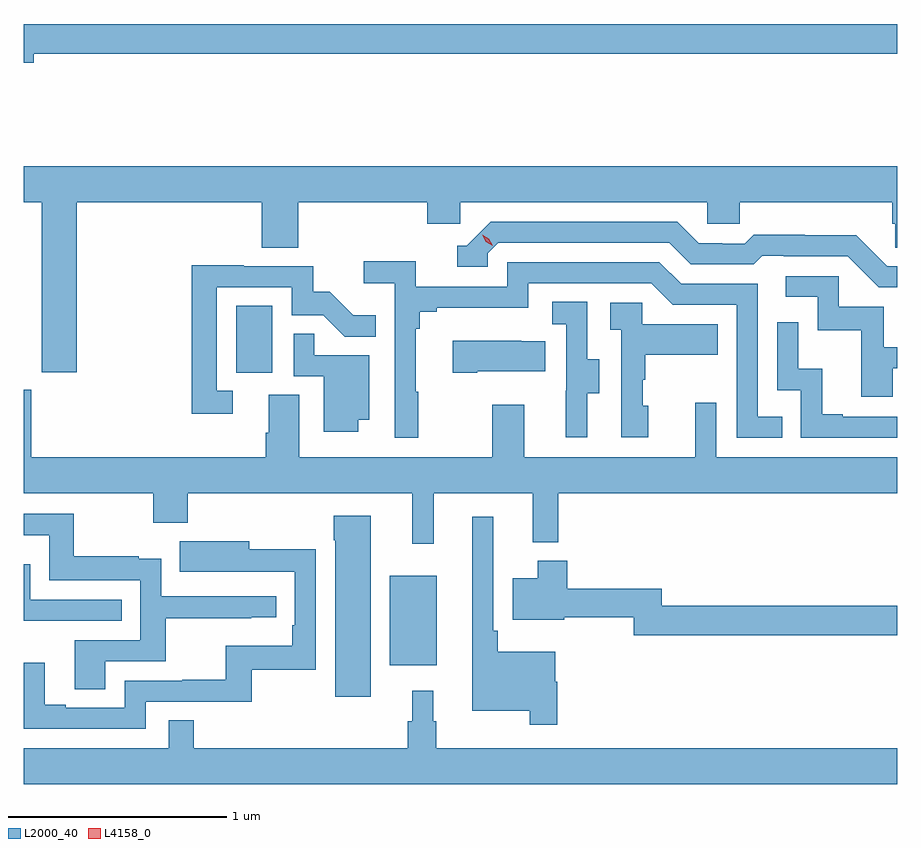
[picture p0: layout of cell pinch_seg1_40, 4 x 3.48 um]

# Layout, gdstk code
import gdstk
lib = gdstk.Library(unit=1e-6, precision=1e-09)
def R(c, l, rs):  # rectangles x0, y0, x1, y1
    for r in rs: c.add(gdstk.rectangle(r[:2], r[2:], *l))
def P(c, l, *ps):  # polygons
    for p in ps: c.add(gdstk.Polygon(p, *l))
L2000_40 = (2000, 40)
L4158_0 = (4158, 0)

pinch_seg1_40 = lib.new_cell('pinch_seg1_40')
R(pinch_seg1_40, L2000_40, [(1091.096,565.595,1091.311,566.005), (1090.394,566.934,1090.558,567.241)])
P(pinch_seg1_40, L2000_40, [(1089.466,568.396),(1093.42,568.396),(1093.42,568.532),(1089.42,568.532),(1089.42,568.354),(1089.466,568.354)],
  [(1089.42,567.716),(1089.502,567.716),(1089.502,566.937),(1089.662,566.937),(1089.662,567.716),(1090.511,567.716),(1090.511,567.508),(1090.676,567.508),(1090.676,567.716),(1091.267,567.716),(1091.267,567.618),(1091.418,567.618),(1091.418,567.716),(1092.549,567.716),(1092.549,567.618),(1092.699,567.618),(1092.699,567.716),(1093.397,567.716),(1093.397,567.618),(1093.411,567.618),(1093.411,567.508),(1093.42,567.508),(1093.42,567.88),(1089.42,567.88)],
  [(1093.42,567.423),(1093.374,567.423),(1093.232,567.565),(1092.996,567.565),(1092.996,567.568),(1092.763,567.568),(1092.721,567.525),(1092.618,567.525),(1092.618,567.528),(1092.511,567.528),(1092.412,567.627),(1091.559,567.627),(1091.448,567.516),(1091.405,567.516),(1091.405,567.42),(1091.544,567.42),(1091.544,567.483),(1091.592,567.531),(1092.375,567.531),(1092.474,567.432),(1092.763,567.432),(1092.802,567.471),(1092.901,567.471),(1092.901,567.468),(1093.194,567.468),(1093.335,567.327),(1093.42,567.327)],
  [(1091.227,566.849),(1091.215,566.849),(1091.215,567.137),(1091.234,567.137),(1091.234,567.214),(1091.311,567.214),(1091.311,567.233),(1091.73,567.233),(1091.73,567.345),(1092.294,567.345),(1092.393,567.246),(1092.684,567.246),(1092.684,566.637),(1092.893,566.637),(1092.893,566.733),(1092.78,566.733),(1092.78,567.342),(1092.43,567.342),(1092.331,567.441),(1091.634,567.441),(1091.634,567.33),(1091.216,567.33),(1091.216,567.446),(1090.977,567.446),(1090.977,567.344),(1091.118,567.344),(1091.118,566.637),(1091.227,566.637)],
  [(1090.378,566.853),(1090.305,566.853),(1090.305,567.327),(1090.647,567.327),(1090.647,567.198),(1090.792,567.198),(1090.889,567.101),(1091.033,567.101),(1091.033,567.199),(1090.929,567.199),(1090.822,567.306),(1090.746,567.306),(1090.746,567.423),(1090.427,567.423),(1090.427,567.428),(1090.189,567.428),(1090.189,566.748),(1090.378,566.748)],
  [(1093.399,566.955),(1093.42,566.955),(1093.42,567.051),(1093.357,567.051),(1093.357,567.237),(1093.152,567.237),(1093.152,567.378),(1092.909,567.378),(1092.909,567.282),(1093.056,567.282),(1093.056,567.129),(1093.255,567.129),(1093.255,566.826),(1093.399,566.826)],
  [(1092.001,566.842),(1092.055,566.842),(1092.055,566.997),(1092,566.997),(1092,567.26),(1091.841,567.26),(1091.841,567.157),(1091.904,567.157),(1091.904,566.853),(1091.903,566.853),(1091.903,566.64),(1092.001,566.64)],
  [(1092.28,566.784),(1092.255,566.784),(1092.255,566.903),(1092.265,566.903),(1092.265,567.017),(1092.599,567.017),(1092.599,567.157),(1092.252,567.157),(1092.252,567.255),(1092.105,567.255),(1092.105,567.131),(1092.156,567.131),(1092.156,566.64),(1092.28,566.64)],
  [(1093.42,566.733),(1093.171,566.733),(1093.171,566.746),(1093.076,566.746),(1093.076,566.954),(1092.966,566.954),(1092.966,567.166),(1092.87,567.166),(1092.87,566.856),(1092.978,566.856),(1092.978,566.637),(1093.42,566.637)],
  [(1090.951,566.72),(1091.002,566.72),(1091.002,567.015),(1090.751,567.015),(1090.751,567.113),(1090.656,567.113),(1090.656,566.919),(1090.793,566.919),(1090.793,566.664),(1090.951,566.664)],
  [(1091.497,566.942),(1091.807,566.942),(1091.807,567.079),(1091.699,567.079),(1091.699,567.082),(1091.385,567.082),(1091.385,566.935),(1091.497,566.935)],
  [(1091.297,566.384),(1091.75,566.384),(1091.75,566.159),(1091.867,566.159),(1091.867,566.384),(1093.42,566.384),(1093.42,566.548),(1092.591,566.548),(1092.591,566.797),(1092.494,566.797),(1092.494,566.548),(1091.713,566.548),(1091.713,566.788),(1091.566,566.788),(1091.566,566.548),(1090.681,566.548),(1090.681,566.834),(1090.541,566.834),(1090.541,566.66),(1090.529,566.66),(1090.529,566.548),(1089.454,566.548),(1089.454,566.857),(1089.42,566.857),(1089.42,566.384),(1090.012,566.384),(1090.012,566.249),(1090.172,566.249),(1090.172,566.384),(1091.198,566.384),(1091.198,566.151),(1091.297,566.151)],
  [(1089.793,565.614),(1090.07,565.614),(1090.07,565.81),(1090.463,565.81),(1090.463,565.815),(1090.576,565.815),(1090.576,565.911),(1090.05,565.911),(1090.05,566.083),(1089.947,566.083),(1089.947,566.095),(1089.649,566.095),(1089.649,566.289),(1089.42,566.289),(1089.42,566.192),(1089.538,566.192),(1089.538,565.986),(1089.954,565.986),(1089.954,565.71),(1089.653,565.71),(1089.653,565.486),(1089.793,565.486)],
  [(1091.008,566.281),(1090.84,566.281),(1090.84,566.168),(1090.847,566.168),(1090.847,565.452),(1091.008,565.452)],
  [(1091.864,565.521),(1091.854,565.521),(1091.854,565.657),(1091.591,565.657),(1091.591,565.753),(1091.571,565.753),(1091.571,566.275),(1091.474,566.275),(1091.474,565.388),(1091.736,565.388),(1091.736,565.323),(1091.864,565.323)],
  [(1089.978,565.428),(1090.465,565.428),(1090.465,565.575),(1090.758,565.575),(1090.758,566.126),(1090.453,566.126),(1090.453,566.164),(1090.135,566.164),(1090.135,566.024),(1090.349,566.024),(1090.349,566.025),(1090.662,566.025),(1090.662,565.78),(1090.649,565.78),(1090.649,565.684),(1090.344,565.684),(1090.344,565.529),(1090.147,565.529),(1090.147,565.524),(1089.882,565.524),(1089.882,565.401),(1089.613,565.401),(1089.613,565.414),(1089.517,565.414),(1089.517,565.607),(1089.42,565.607),(1089.42,565.305),(1089.978,565.305)],
  [(1093.42,565.868),(1092.341,565.868),(1092.341,565.945),(1091.909,565.945),(1091.909,566.074),(1091.774,566.074),(1091.774,565.993),(1091.66,565.993),(1091.66,565.805),(1091.896,565.805),(1091.896,565.816),(1092.213,565.816),(1092.213,565.732),(1093.42,565.732)],
  [(1089.869,565.896),(1089.45,565.896),(1089.45,566.059),(1089.42,566.059),(1089.42,565.8),(1089.869,565.8)],
  [(1093.42,565.216),(1091.308,565.216),(1091.308,565.34),(1091.296,565.34),(1091.296,565.48),(1091.198,565.48),(1091.198,565.34),(1091.179,565.34),(1091.179,565.216),(1090.199,565.216),(1090.199,565.343),(1090.083,565.343),(1090.083,565.216),(1089.42,565.216),(1089.42,565.052),(1093.42,565.052)])
P(pinch_seg1_40, L4158_0, [(1091.567,567.516),(1091.536,567.535),(1091.519,567.568),(1091.519,567.568),(1091.52,567.568),(1091.55,567.549),(1091.567,567.516),(1091.567,567.516)])

lib.write_gds('pinch_seg1_40.gds')
